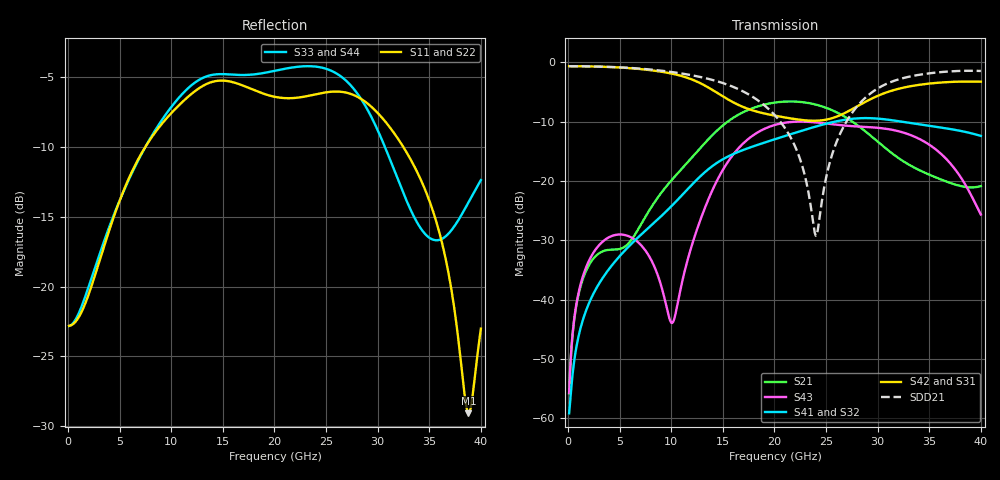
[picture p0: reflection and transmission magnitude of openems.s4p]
! E_s8_L1L3_p800_round_g2: pair L1→L3, pitch 0.8 mm, two round antipads, 2 GND vias
! stackup: 8-layer 1.6 mm FR-4 (generic)
! ports: 1 P near, 2 N near, 3 P far, 4 N far
! openEMS 0.37.0, staircase, fine mesh (dfine 0.0175 mm), 1669668 cells
# Hz S RI R 50
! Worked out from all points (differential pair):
!   400 points, 100 MHz to 40 GHz, reference 50 ohm
!   strongest paths, dB at 100 MHz, 10.1 GHz, 20.1 GHz, 30.1 GHz, 40 GHz:
!     S42: -0.7, -1.9, -9.0, -5.6, -3.3
!     S31: -0.7, -1.9, -9.0, -5.6, -3.3
!     S41: -59.2, -24.1, -12.9, -9.5, -12.4
!     S32: -59.2, -24.1, -12.9, -9.5, -12.4
!     S43: -55.8, -44.0, -10.5, -11.1, -25.7
!     S21: -55.8, -19.7, -6.8, -13.5, -20.9
!   taken as a pair (ports 2,1 in; 4,3 out), SDD21 dB: -0.7, -1.7, -9.1, -4.3, -1.5
!   lowest |S11| = -29.1 dB at 38.8 GHz (marker M1), VSWR 1.07, Z = 53.2 + j1.77 ohm
!   |S11| at or under -10 dB: start of sweep to 7.472 GHz; 32.49 GHz to end of sweep
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1e8  -0.0723 -0.000756  0.00119 0.00109  0.9269 -0.0347  0.000962 -0.000542
     0.00119 0.00109  -0.0723 -0.000756  0.000962 -0.000542  0.9269 -0.0347
     0.9269 -0.0347  0.000957 -0.000539  -0.0722 -0.000722  0.00119 0.00111
     0.000957 -0.000539  0.9269 -0.0347  0.00119 0.00111  -0.0722 -0.000722
8.1e9  -0.0211 0.3425  0.06 -0.00961  -0.8518 -0.0731  0.007 0.0419
       0.06 -0.00961  -0.0211 0.3425  0.007 0.0419  -0.8518 -0.0731
       -0.8524 -0.073  0.00701 0.0419  0.00344 0.3465  -0.00693 -0.02
       0.00701 0.0419  -0.8524 -0.073  -0.00693 -0.02  0.00344 0.3465
1.49e10  0.1979 -0.5107  -0.2744 -0.0904  0.4147 0.3204  -0.1131 -0.1002
         -0.2744 -0.0904  0.1979 -0.5107  -0.1131 -0.1002  0.4147 0.3204
         0.4135 0.3193  -0.1128 -0.0998  0.1646 -0.5539  -0.1195 -0.00736
         -0.1128 -0.0998  0.4135 0.3193  -0.1195 -0.00736  0.1646 -0.5539
2.29e10  -0.257 0.4051  0.4027 -0.2205  0.0411 -0.3208  0.1211 -0.239
         0.4027 -0.2205  -0.257 0.4051  0.1211 -0.239  0.0411 -0.3208
         0.041 -0.322  0.1214 -0.24  -0.0299 0.6158  0.1665 -0.2683
         0.1214 -0.24  0.041 -0.322  0.1665 -0.2683  -0.0299 0.6158
3.02e10  0.2838 -0.2983  -0.1446 0.1485  -0.5147 0.1373  0.0742 0.3275
         -0.1446 0.1485  0.2838 -0.2983  0.0742 0.3275  -0.5147 0.1373
         -0.5122 0.1367  0.0739 0.3258  0.1504 -0.3161  0.0619 0.2724
         0.0739 0.3258  -0.5122 0.1367  0.0619 0.2724  0.1504 -0.3161
3.88e10  0.0309 0.0167  -0.027 -0.0841  0.6499 -0.2278  -0.1965 -0.1635
         -0.027 -0.0841  0.0309 0.0167  -0.1965 -0.1635  0.6499 -0.2278
         0.6503 -0.2254  -0.1958 -0.164  -0.1524 0.1301  -0.0701 -0.0454
         -0.1958 -0.164  0.6503 -0.2254  -0.0701 -0.0454  -0.1524 0.1301
4e10  0.0307 -0.0636  -0.0806 -0.041  0.4891 -0.4808  -0.2349 -0.0461
      -0.0806 -0.041  0.0307 -0.0636  -0.2349 -0.0461  0.4891 -0.4808
      0.4912 -0.4797  -0.2349 -0.0468  -0.1344 0.1998  -0.0507 0.0118
      -0.2349 -0.0468  0.4912 -0.4797  -0.0507 0.0118  -0.1344 0.1998
